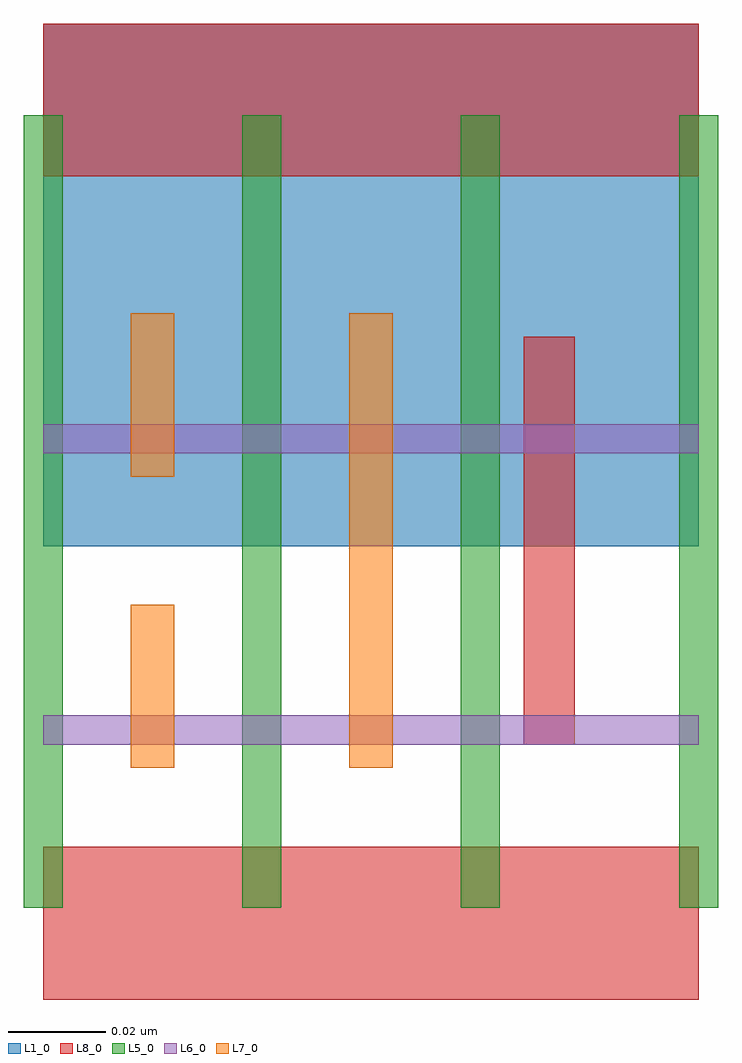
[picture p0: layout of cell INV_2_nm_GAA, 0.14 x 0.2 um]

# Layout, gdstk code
import gdstk
lib = gdstk.Library(unit=1e-6, precision=1e-12)
def R(c, l, rs):  # rectangles x0, y0, x1, y1
    for r in rs: c.add(gdstk.rectangle(r[:2], r[2:], *l))
def A(c, l, x, y, w, h, nx, ny, dx, dy):  # array of equal rectangles
    R(c, l, [(x+i*dx, y+j*dy, x+i*dx+w, y+j*dy+h) for i in range(nx) for j in range(ny)])
L1_0 = (1, 0)
L5_0 = (5, 0)
L6_0 = (6, 0)
L7_0 = (7, 0)
L8_0 = (8, 0)

inv_2_nm_gaa = lib.new_cell('INV_2_nm_GAA')
R(inv_2_nm_gaa, L1_0, [(0,0.0933,0.135,0.201)])
A(inv_2_nm_gaa, L5_0, -0.004, 0.0189, 0.0081, 0.1632, 4, 1, 0.045, 0)
R(inv_2_nm_gaa, L6_0, [(0,0.0525,0.135,0.0585), (0,0.1125,0.135,0.1185)])
R(inv_2_nm_gaa, L7_0, [(0.018,0.0477,0.027,0.0813), (0.063,0.0477,0.072,0.1413), (0.018,0.1077,0.027,0.1413)])
R(inv_2_nm_gaa, L8_0, [(0,0,0.135,0.0315), (0.099,0.0525,0.1095,0.1365), (0,0.1695,0.135,0.201)])

lib.write_gds('INV_2_nm_GAA.gds')
